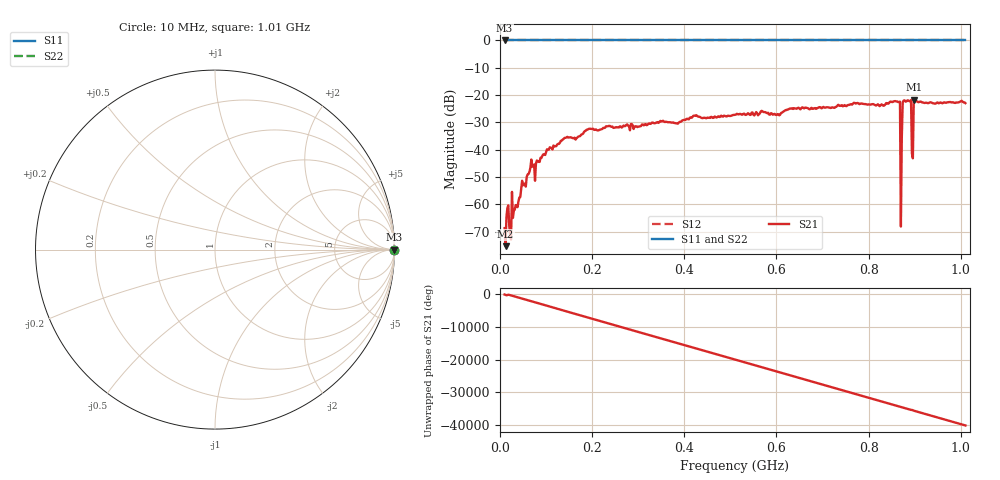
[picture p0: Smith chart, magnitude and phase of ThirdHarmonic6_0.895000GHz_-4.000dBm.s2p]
! 8/16/2025 5:23:02 AM
! C:\ANRITSUVNA\TEMP\TEMP.S2P
! CHANNEL.1
! TR.MEASUREMENT
! RAW.DATA
! RF.CORRECTION.OFF
! AVERAGING.OFF
! IF.BANDWIDTH: 5KHZ
! SWEEPTYPE:  FREQ.SWEEP(Linear)
! Reference Plane Port Info
! PORT:  PORT1  PORT2
! DISTANCE:  0  m  0  m
! TIME:  0  s  0  s
! PHASE.OFFSET:  0  deg.  0  deg.
! LOSS:  0  dB  0  dB
! REF.LOSS:  0  dB  0  dB
! REF.FREQ:  0  Hz  0  Hz
! Power Info
! POWER:  -20  dBm  -20  dBm
! EFF.POWER:  -20  dBm  -20  dBm
! SOURCE.ATTEN:  0  dB  0  dB
! TEST.ATTEN:  0  dB  0  dB
# GHZ S RI R 50.0
! FREQ.GHZ  S11RE  S11IM  S21RE  S21IM  S12RE  S12IM  S22RE  S22IM
!; PortSelection: Port_12
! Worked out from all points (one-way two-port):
!   501 points, 10 MHz to 1.01 GHz, reference 50 ohm
!   highest |S21| = -21.72 dB at 898 MHz (marker M1); lowest = -75.3 dB at 12 MHz (marker M2)
!   lowest |S11| = 0.0 dB at 10 MHz (marker M3)
!   |S11| at or under -10 dB: nowhere
!   |S22| runs from 0.0 to 0.0 dB; largest |S21 - S12| = 1.1
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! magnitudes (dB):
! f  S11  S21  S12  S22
! 10 MHz  0.0  -68.7  0.0  0.0
! 12 MHz  0.0  -75.3  0.0  0.0
! 24 MHz  0.0  -72.8  0.0  0.0
! 30 MHz  0.0  -62.2  0.0  0.0
! 70 MHz  0.0  -46.2  0.0  0.0
! 140 MHz  0.0  -35.7  0.0  0.0
! 178 MHz  0.0  -34.3  0.0  0.0
! 344 MHz  0.0  -30.2  0.0  0.0
! 510 MHz  0.0  -27.2  0.0  0.0
! 678 MHz  0.0  -25.0  0.0  0.0
! 844 MHz  0.0  -23.0  0.0  0.0
! 864 MHz  0.0  -22.5  0.0  0.0
! 866 MHz  0.0  -22.6  0.0  0.0
! 868 MHz  0.0  -22.4  0.0  0.0
! 874 MHz  0.0  -22.6  0.0  0.0
! 876 MHz  0.0  -22.0  0.0  0.0
! 878 MHz  0.0  -21.9  0.0  0.0
! 888 MHz  0.0  -22.2  0.0  0.0
! 892 MHz  0.0  -21.8  0.0  0.0
! 898 MHz  0.0  -21.7  0.0  0.0
! 902 MHz  0.0  -22.2  0.0  0.0
! 1.01 GHz  0.0  -22.9  0.0  0.0
